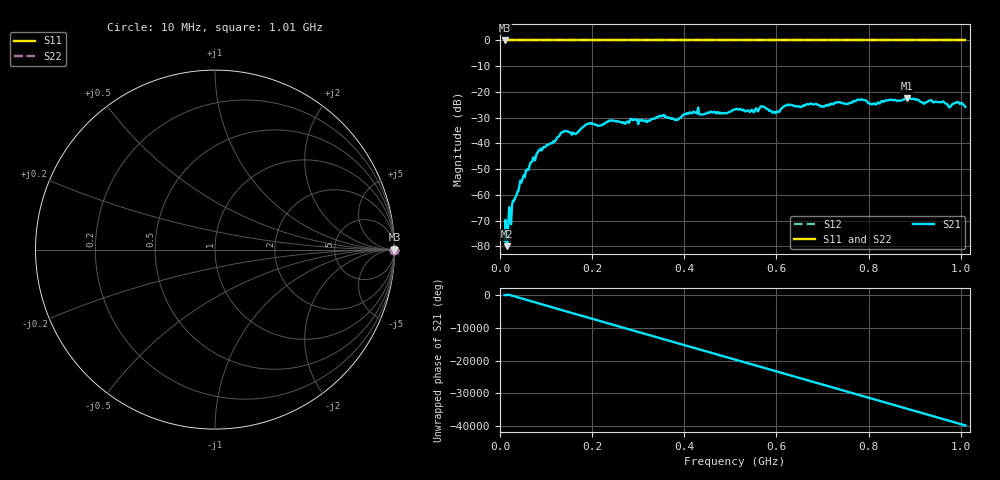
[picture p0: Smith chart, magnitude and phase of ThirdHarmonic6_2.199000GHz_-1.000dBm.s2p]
! 8/17/2025 2:12:49 AM
! C:\ANRITSUVNA\TEMP\TEMP.S2P
! CHANNEL.1
! TR.MEASUREMENT
! RAW.DATA
! RF.CORRECTION.OFF
! AVERAGING.OFF
! IF.BANDWIDTH: 5KHZ
! SWEEPTYPE:  FREQ.SWEEP(Linear)
! Reference Plane Port Info
! PORT:  PORT1  PORT2
! DISTANCE:  0  m  0  m
! TIME:  0  s  0  s
! PHASE.OFFSET:  0  deg.  0  deg.
! LOSS:  0  dB  0  dB
! REF.LOSS:  0  dB  0  dB
! REF.FREQ:  0  Hz  0  Hz
! Power Info
! POWER:  -20  dBm  -20  dBm
! EFF.POWER:  -20  dBm  -20  dBm
! SOURCE.ATTEN:  0  dB  0  dB
! TEST.ATTEN:  0  dB  0  dB
# GHZ S RI R 50.0
! FREQ.GHZ  S11RE  S11IM  S21RE  S21IM  S12RE  S12IM  S22RE  S22IM
!; PortSelection: Port_12
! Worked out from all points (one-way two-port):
!   501 points, 10 MHz to 1.01 GHz, reference 50 ohm
!   highest |S21| = -22.43 dB at 884 MHz (marker M1); lowest = -79.9 dB at 16 MHz (marker M2)
!   lowest |S11| = 0.0 dB at 10 MHz (marker M3)
!   |S11| at or under -10 dB: nowhere
!   |S22| runs from 0.0 to 0.0 dB; largest |S21 - S12| = 1.1
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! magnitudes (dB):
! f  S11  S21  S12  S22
! 10 MHz  0.0  -77.8  0.0  0.0
! 12 MHz  0.0  -69.7  0.0  0.0
! 16 MHz  0.0  -79.9  0.0  0.0
! 30 MHz  0.0  -62.5  0.0  0.0
! 46 MHz  0.0  -55.3  0.0  0.0
! 84 MHz  0.0  -42.7  0.0  0.0
! 136 MHz  0.0  -35.7  0.0  0.0
! 164 MHz  0.0  -36.3  0.0  0.0
! 178 MHz  0.0  -33.9  0.0  0.0
! 194 MHz  0.0  -32.2  0.0  0.0
! 344 MHz  0.0  -29.7  0.0  0.0
! 382 MHz  0.0  -30.8  0.0  0.0
! 426 MHz  0.0  -28.0  0.0  0.0
! 510 MHz  0.0  -26.8  0.0  0.0
! 548 MHz  0.0  -27.2  0.0  0.0
! 570 MHz  0.0  -25.6  0.0  0.0
! 596 MHz  0.0  -27.8  0.0  0.0
! 624 MHz  0.0  -24.9  0.0  0.0
! 678 MHz  0.0  -24.8  0.0  0.0
! 844 MHz  0.0  -23.2  0.0  0.0
! 884 MHz  0.0  -22.4  0.0  0.0
! 1.01 GHz  0.0  -25.8  0.0  0.0
